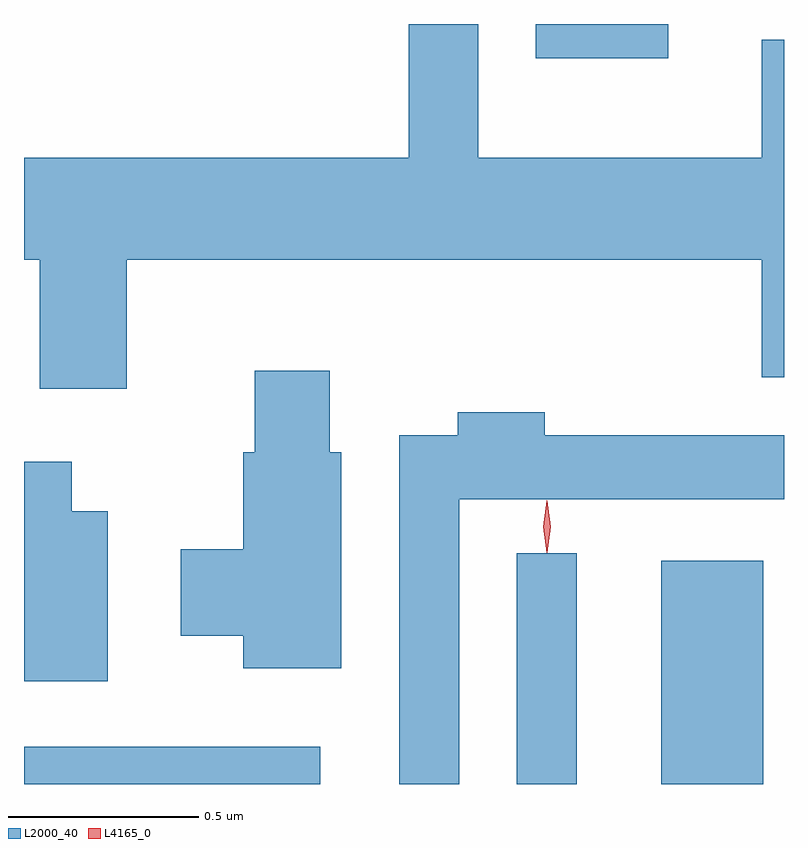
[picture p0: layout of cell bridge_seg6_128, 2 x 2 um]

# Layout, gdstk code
import gdstk
lib = gdstk.Library(unit=1e-6, precision=1e-09)
def R(c, l, rs):  # rectangles x0, y0, x1, y1
    for r in rs: c.add(gdstk.rectangle(r[:2], r[2:], *l))
def P(c, l, *ps):  # polygons
    for p in ps: c.add(gdstk.Polygon(p, *l))
L2000_40 = (2000, 40)
L4165_0 = (4165, 0)

bridge_seg6_128 = lib.new_cell('bridge_seg6_128')
R(bridge_seg6_128, L2000_40, [(1168.549,1630.796,1169.329,1630.894), (1169.846,1630.796,1170.004,1631.403), (1170.226,1630.796,1170.494,1631.384), (1169.896,1632.706,1170.244,1632.796)])
P(bridge_seg6_128, L2000_40, [(1168.819,1632.176),(1170.491,1632.176),(1170.491,1631.866),(1170.549,1631.866),(1170.549,1632.754),(1170.491,1632.754),(1170.491,1632.444),(1169.744,1632.444),(1169.744,1632.796),(1169.561,1632.796),(1169.561,1632.444),(1168.549,1632.444),(1168.549,1632.176),(1168.591,1632.176),(1168.591,1631.836),(1168.819,1631.836)],
  [(1169.384,1631.669),(1169.354,1631.669),(1169.354,1631.884),(1169.156,1631.884),(1169.156,1631.669),(1169.126,1631.669),(1169.126,1631.414),(1168.961,1631.414),(1168.961,1631.186),(1169.126,1631.186),(1169.126,1631.101),(1169.384,1631.101)],
  [(1169.694,1631.546),(1170.549,1631.546),(1170.549,1631.714),(1169.919,1631.714),(1169.919,1631.774),(1169.691,1631.774),(1169.691,1631.714),(1169.536,1631.714),(1169.536,1630.796),(1169.694,1630.796)],
  [(1168.769,1631.514),(1168.674,1631.514),(1168.674,1631.644),(1168.549,1631.644),(1168.549,1631.066),(1168.769,1631.066)])
P(bridge_seg6_128, L4165_0, [(1169.924,1631.404),(1169.915,1631.473),(1169.924,1631.542),(1169.925,1631.543),(1169.926,1631.542),(1169.935,1631.473),(1169.926,1631.404),(1169.925,1631.404)])

lib.write_gds('bridge_seg6_128.gds')
